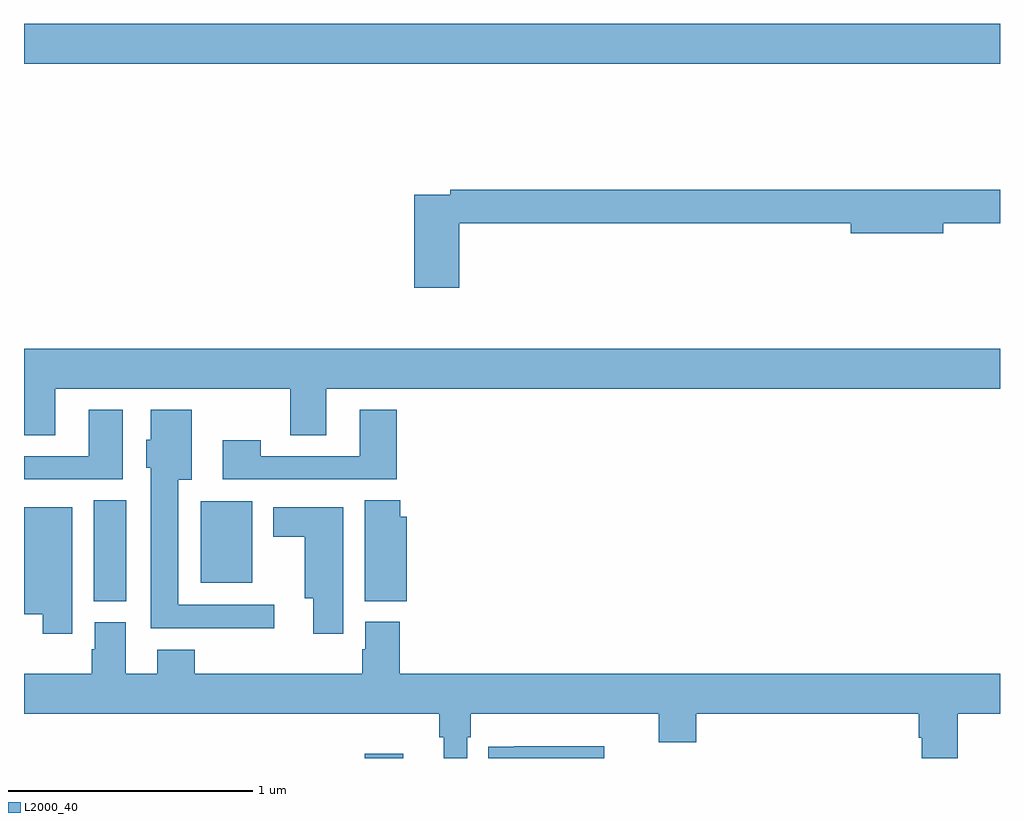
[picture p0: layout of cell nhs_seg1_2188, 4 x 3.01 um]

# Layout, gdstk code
import gdstk
lib = gdstk.Library(unit=1e-6, precision=1e-09)
def R(c, l, rs):  # rectangles x0, y0, x1, y1
    for r in rs: c.add(gdstk.rectangle(r[:2], r[2:], *l))
def P(c, l, *ps):  # polygons
    for p in ps: c.add(gdstk.Polygon(p, *l))
L2000_40 = (2000, 40)

nhs_seg1_2188 = lib.new_cell('nhs_seg1_2188')
R(nhs_seg1_2188, L2000_40, [(230.396,570.199,230.554,570.217), (229.286,570.841,229.42,571.256), (229.724,570.917,229.936,571.252), (229,573.044,233,573.208)])
P(nhs_seg1_2188, L2000_40, [(230.783,572.392),(232.388,572.392),(232.388,572.35),(232.768,572.35),(232.768,572.392),(233,572.392),(233,572.528),(230.746,572.528),(230.746,572.508),(230.6,572.508),(230.6,572.127),(230.783,572.127)],
  [(229.129,571.712),(230.092,571.712),(230.092,571.522),(230.239,571.522),(230.239,571.712),(233,571.712),(233,571.876),(229,571.876),(229,571.522),(229.129,571.522)],
  [(230.026,570.828),(229.633,570.828),(229.633,571.34),(229.687,571.34),(229.687,571.627),(229.52,571.627),(229.52,571.503),(229.502,571.503),(229.502,571.389),(229.52,571.389),(229.52,570.731),(230.026,570.731)],
  [(230.528,571.627),(230.375,571.627),(230.375,571.437),(229.971,571.437),(229.971,571.501),(229.815,571.501),(229.815,571.341),(230.528,571.341)],
  [(229.405,571.627),(229.265,571.627),(229.265,571.437),(229,571.437),(229,571.341),(229.405,571.341)],
  [(230.569,571.189),(230.543,571.189),(230.543,571.256),(230.396,571.256),(230.396,570.842),(230.569,570.842)],
  [(229.198,571.228),(229,571.228),(229,570.788),(229.076,570.788),(229.076,570.708),(229.198,570.708)],
  [(230.308,571.228),(230.021,571.228),(230.021,571.106),(230.15,571.106),(230.15,570.854),(230.186,570.854),(230.186,570.708),(230.308,570.708)],
  [(230.817,570.284),(230.831,570.284),(230.831,570.38),(231.602,570.38),(231.602,570.263),(231.755,570.263),(231.755,570.38),(232.667,570.38),(232.667,570.282),(232.679,570.282),(232.679,570.199),(232.827,570.199),(232.827,570.38),(233,570.38),(233,570.544),(230.54,570.544),(230.54,570.757),(230.399,570.757),(230.399,570.645),(230.387,570.645),(230.387,570.544),(229.7,570.544),(229.7,570.643),(229.547,570.643),(229.547,570.544),(229.417,570.544),(229.417,570.756),(229.289,570.756),(229.289,570.645),(229.277,570.645),(229.277,570.544),(229,570.544),(229,570.38),(230.701,570.38),(230.701,570.284),(230.72,570.284),(230.72,570.199),(230.817,570.199)],
  [(231.378,570.247),(231.01,570.247),(231.01,570.246),(230.902,570.246),(230.902,570.199),(231.378,570.199)])

lib.write_gds('nhs_seg1_2188.gds')
